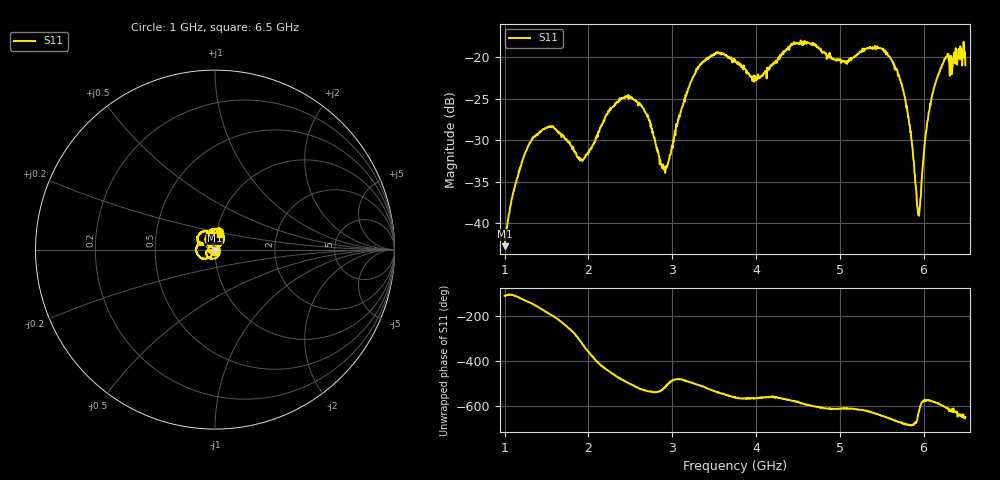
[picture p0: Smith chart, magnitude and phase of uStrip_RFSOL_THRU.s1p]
# HZ S RI R 50
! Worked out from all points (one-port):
!   1005 points, 1 GHz to 6.5 GHz, reference 50 ohm
!   lowest |S11| = -42.8 dB at 1 GHz (marker M1), VSWR 1.01, Z = 49.7 - j0.672 ohm
!   |S11| at or under -10 dB: start of sweep to end of sweep
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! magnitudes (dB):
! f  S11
! 1 GHz  -42.8
! 1.121 GHz  -35.7
! 1.307 GHz  -30.3
! 1.526 GHz  -28.4
! 1.69 GHz  -29.3
! 1.937 GHz  -32.4
! 2.375 GHz  -24.9
! 2.643 GHz  -26.0
! 2.901 GHz  -33.2
! 2.961 GHz  -32.4
! 3.065 GHz  -28.0
! 3.219 GHz  -23.1
! 3.345 GHz  -20.8
! 3.547 GHz  -19.4
! 3.75 GHz  -20.3
! 4.029 GHz  -22.4
! 4.44 GHz  -18.4
! 5.125 GHz  -20.1
! 5.333 GHz  -18.9
! 5.541 GHz  -19.2
! 5.706 GHz  -22.2
! 5.815 GHz  -27.2
! 5.941 GHz  -39.0
! 5.963 GHz  -37.1
! 6.051 GHz  -27.7
! 6.149 GHz  -22.9
! 6.27 GHz  -20.0
! 6.5 GHz  -21.0
